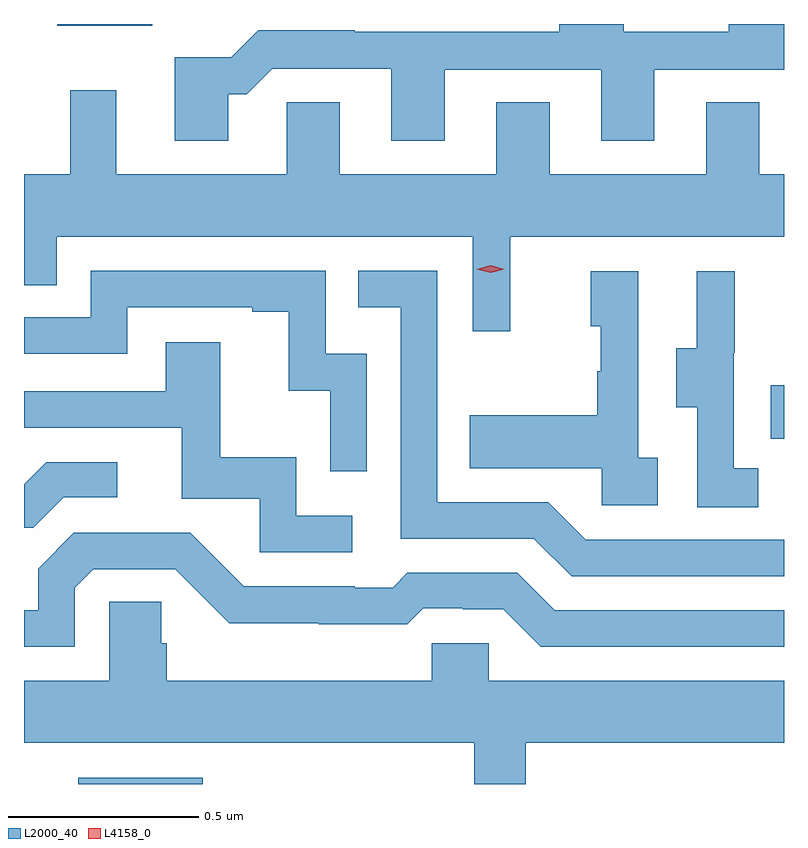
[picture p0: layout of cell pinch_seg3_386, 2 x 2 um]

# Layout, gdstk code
import gdstk
lib = gdstk.Library(unit=1e-6, precision=1e-09)
def R(c, l, rs):  # rectangles x0, y0, x1, y1
    for r in rs: c.add(gdstk.rectangle(r[:2], r[2:], *l))
def P(c, l, *ps):  # polygons
    for p in ps: c.add(gdstk.Polygon(p, *l))
L2000_40 = (2000, 40)
L4158_0 = (4158, 0)

pinch_seg3_386 = lib.new_cell('pinch_seg3_386')
R(pinch_seg3_386, L2000_40, [(994.791,700.808,995.119,700.824), (996.613,701.717,996.648,701.857), (994.736,702.803,994.986,702.808)])
P(pinch_seg3_386, L2000_40, [(995.185,702.623),(995.234,702.623),(995.301,702.69),(995.615,702.69),(995.615,702.501),(995.755,702.501),(995.755,702.687),(996.167,702.687),(996.167,702.501),(996.307,702.501),(996.307,702.687),(996.648,702.687),(996.648,702.808),(996.503,702.808),(996.503,702.788),(996.226,702.788),(996.226,702.808),(996.056,702.808),(996.056,702.788),(995.519,702.788),(995.519,702.791),(995.264,702.791),(995.193,702.72),(995.045,702.72),(995.045,702.501),(995.185,702.501)],
  [(995.927,702.248),(996.648,702.248),(996.648,702.412),(996.583,702.412),(996.583,702.602),(996.443,702.602),(996.443,702.412),(996.031,702.412),(996.031,702.602),(995.891,702.602),(995.891,702.412),(995.479,702.412),(995.479,702.602),(995.34,702.602),(995.34,702.412),(994.891,702.412),(994.891,702.634),(994.77,702.634),(994.77,702.412),(994.648,702.412),(994.648,702.121),(994.734,702.121),(994.734,702.248),(995.829,702.248),(995.829,702),(995.927,702)],
  [(996.648,701.451),(996.126,701.451),(996.027,701.55),(995.736,701.55),(995.736,702.159),(995.527,702.159),(995.527,702.063),(995.64,702.063),(995.64,701.454),(995.99,701.454),(996.089,701.355),(996.648,701.355)],
  [(995.55,701.94),(995.442,701.94),(995.442,702.159),(994.824,702.159),(994.824,702.036),(994.648,702.036),(994.648,701.94),(994.92,701.94),(994.92,702.063),(995.249,702.063),(995.249,702.051),(995.345,702.051),(995.345,701.843),(995.454,701.843),(995.454,701.631),(995.55,701.631)],
  [(996.58,701.639),(996.516,701.639),(996.516,701.943),(996.518,701.943),(996.518,702.157),(996.419,702.157),(996.419,701.955),(996.365,701.955),(996.365,701.8),(996.42,701.8),(996.42,701.536),(996.58,701.536)],
  [(996.316,701.666),(996.264,701.666),(996.264,702.157),(996.14,702.157),(996.14,702.012),(996.166,702.012),(996.166,701.894),(996.156,701.894),(996.156,701.779),(995.821,701.779),(995.821,701.639),(996.168,701.639),(996.168,701.541),(996.316,701.541)],
  [(995.512,701.514),(995.364,701.514),(995.364,701.668),(995.165,701.668),(995.165,701.971),(995.021,701.971),(995.021,701.841),(994.648,701.841),(994.648,701.745),(995.063,701.745),(995.063,701.559),(995.268,701.559),(995.268,701.418),(995.512,701.418)],
  [(994.752,701.562),(994.894,701.562),(994.894,701.655),(994.706,701.655),(994.648,701.597),(994.648,701.482),(994.672,701.482)],
  [(994.782,701.325),(994.83,701.373),(995.046,701.373),(995.188,701.231),(995.424,701.231),(995.424,701.229),(995.657,701.229),(995.699,701.271),(995.802,701.271),(995.802,701.268),(995.909,701.268),(996.008,701.169),(996.648,701.169),(996.648,701.265),(996.045,701.265),(995.946,701.364),(995.657,701.364),(995.618,701.325),(995.519,701.325),(995.519,701.328),(995.226,701.328),(995.085,701.469),(994.779,701.469),(994.685,701.375),(994.685,701.265),(994.648,701.265),(994.648,701.169),(994.782,701.169)],
  [(995.969,700.916),(996.648,700.916),(996.648,701.08),(995.871,701.08),(995.871,701.178),(995.721,701.178),(995.721,701.08),(995.024,701.08),(995.024,701.178),(995.009,701.178),(995.009,701.288),(994.872,701.288),(994.872,701.08),(994.648,701.08),(994.648,700.916),(995.833,700.916),(995.833,700.808),(995.969,700.808)])
P(pinch_seg3_386, L4158_0, [(995.876,702.153),(995.84,702.163),(995.84,702.163),(995.84,702.163),(995.876,702.173),(995.912,702.163),(995.912,702.163),(995.912,702.163)])

lib.write_gds('pinch_seg3_386.gds')
